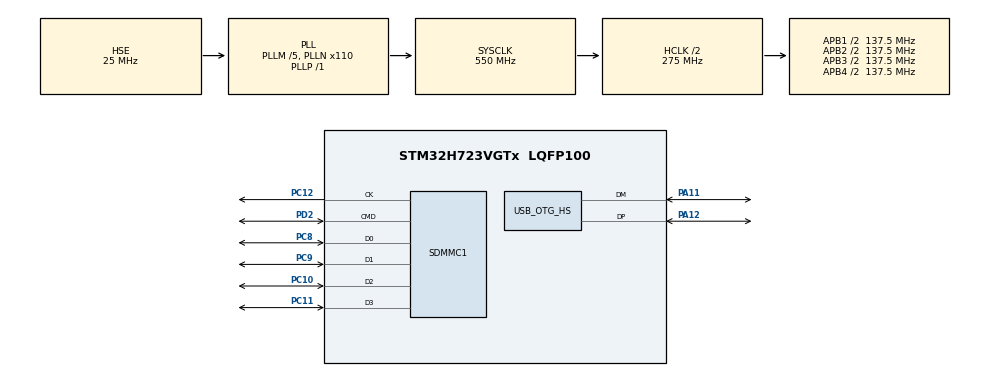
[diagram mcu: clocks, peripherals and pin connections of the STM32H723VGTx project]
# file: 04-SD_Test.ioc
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Mcu.Family=STM32H7
Mcu.Name=STM32H723VGTx
Mcu.Package=LQFP100
NVIC.OTG_HS_IRQn=true\:0\:0\:false\:false\:true\:false\:true\:true
NVIC.PriorityGroup=NVIC_PRIORITYGROUP_4
NVIC.SDMMC1_IRQn=true\:0\:0\:false\:false\:true\:true\:true\:true
PA11.Mode=Device_Only_FS
PA11.Signal=USB_OTG_HS_DM
PA12.Mode=Device_Only_FS
PA12.Signal=USB_OTG_HS_DP
PC10.Mode=SD_4_bits_Wide_bus
PC10.Signal=SDMMC1_D2
PC11.Mode=SD_4_bits_Wide_bus
PC11.Signal=SDMMC1_D3
PC12.Mode=SD_4_bits_Wide_bus
PC12.Signal=SDMMC1_CK
PC14-OSC32_IN.Mode=LSE-External-Oscillator
PC14-OSC32_IN.Signal=RCC_OSC32_IN
PC15-OSC32_OUT.Mode=LSE-External-Oscillator
PC15-OSC32_OUT.Signal=RCC_OSC32_OUT
PC8.Mode=SD_4_bits_Wide_bus
PC8.Signal=SDMMC1_D0
PC9.Mode=SD_4_bits_Wide_bus
PC9.Signal=SDMMC1_D1
PD2.Mode=SD_4_bits_Wide_bus
PD2.Signal=SDMMC1_CMD
PH0-OSC_IN.Mode=HSE-External-Oscillator
PH0-OSC_IN.Signal=RCC_OSC_IN
PH1-OSC_OUT.Mode=HSE-External-Oscillator
PH1-OSC_OUT.Signal=RCC_OSC_OUT
ProjectManager.HeapSize=0x200
ProjectManager.StackSize=0x400
ProjectManager.TargetToolchain=MDK-ARM V5.32
RCC.ADCFreq_Value=50390625
RCC.APB1Freq_Value=137500000
RCC.APB2Freq_Value=137500000
RCC.APB3Freq_Value=137500000
RCC.APB4Freq_Value=137500000
RCC.CortexFreq_Value=550000000
RCC.D1PPRE=RCC_APB3_DIV2
RCC.D2PPRE1=RCC_APB1_DIV2
RCC.D2PPRE2=RCC_APB2_DIV2
RCC.D3PPRE=RCC_APB4_DIV2
RCC.DIVM1=5
RCC.DIVN1=110
RCC.DIVP1=1
RCC.DIVQ1=4
RCC.HCLKFreq_Value=275000000
RCC.HPRE=RCC_HCLK_DIV2
RCC.PLL2FRACN=0
RCC.PLL3FRACN=0
RCC.PLLFRACN=0
RCC.PLLSourceVirtual=RCC_PLLSOURCE_HSE
RCC.SYSCLKFreq_VALUE=550000000
RCC.SYSCLKSource=RCC_SYSCLKSOURCE_PLLCLK
RCC.USBCLockSelection=RCC_USBCLKSOURCE_HSI48
RCC.USBFreq_Value=48000000
SDMMC1.ClockDiv=5
USB_DEVICE.CLASS_NAME_HS=MSC
USB_DEVICE.MSC_MEDIA_PACKET=4096
USB_DEVICE.VirtualMode=Msc
USB_DEVICE.VirtualModeHS=Msc_HS
USB_OTG_HS.VirtualMode-Device_Only_FS=Device_Only_FS
VP_USB_DEVICE_VS_USB_DEVICE_MSC_HS.Mode=MSC_HS
board=custom

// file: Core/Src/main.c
/* USER CODE BEGIN Header */

/*---------------------------------------
- WeAct Studio Official Link
- taobao: weactstudio.taobao.com
- aliexpress: weactstudio.aliexpress.com
- github: github.com/WeActStudio
- gitee: gitee.com/WeActStudio
- blog: blog.weactstudio.com
---------------------------------------*/

/**
  ******************************************************************************
  * @file           : main.c
  * @brief          : Main program body
  ******************************************************************************
  * @attention
  *
  * Copyright (c) 2023 STMicroelectronics.
  * All rights reserved.
  *
  * This software is licensed under terms that can be found in the LICENSE file
  * in the root directory of this software component.
  * If no LICENSE file comes with this software, it is provided AS-IS.
  *
  ******************************************************************************
  */
/* USER CODE END Header */
#include "main.h"
#include "sdmmc.h"
#include "gpio.h"

/* USER CODE BEGIN Includes */
#include "board.h"
#include "usb_device.h"
/* USER CODE END Includes */

/* USER CODE BEGIN PV */
HAL_SD_CardCIDTypedef pCID;
HAL_SD_CardCSDTypedef pCSD;
HAL_SD_CardInfoTypeDef pCardInfo;
/* USER CODE END PV */

void SystemClock_Config(void);
static void MPU_Config(void);

int main(void)
{

  /* MPU Configuration--------------------------------------------------------*/
  MPU_Config();

  /* MCU Configuration--------------------------------------------------------*/

  /* Reset of all peripherals, Initializes the Flash interface and the Systick. */
  HAL_Init();

  /* Configure the system clock */
  SystemClock_Config();

  /* USER CODE BEGIN SysInit */
  board_button_init();
  board_led_init();
  /* USER CODE END SysInit */

  /* Initialize all configured peripherals */
  MX_GPIO_Init();
  MX_SDMMC1_SD_Init();
  /* USER CODE BEGIN 2 */

	HAL_SD_GetCardCID(&hsd1, &pCID);
  HAL_SD_GetCardCSD(&hsd1, &pCSD);
	HAL_SD_GetCardInfo(&hsd1, &pCardInfo);

	HAL_Delay(50);
	MX_USB_DEVICE_Init();

	uint32_t tick,tick_now;
  tick = HAL_GetTick() + 200;
  tick_now = HAL_GetTick();
  /* USER CODE END 2 */

  /* Infinite loop */
  while (1)
  {

    /* USER CODE BEGIN 3 */
		tick_now = HAL_GetTick();
    if(board_button_getstate())
    {
      if(tick_now >= tick)
      {
        tick = tick_now + 200;
        board_led_toggle();
      }
    }
    else
    {
      if(tick_now >= tick)
      {
        tick = tick_now + 500;
        board_led_toggle();
      }
    }
  }
  /* USER CODE END 3 */
}

void SystemClock_Config(void)
{
  RCC_OscInitTypeDef RCC_OscInitStruct = {0};
  RCC_ClkInitTypeDef RCC_ClkInitStruct = {0};

  /** Supply configuration update enable
  */
  HAL_PWREx_ConfigSupply(PWR_LDO_SUPPLY);

  /** Configure the main internal regulator output voltage
  */
  __HAL_PWR_VOLTAGESCALING_CONFIG(PWR_REGULATOR_VOLTAGE_SCALE0);

  while(!__HAL_PWR_GET_FLAG(PWR_FLAG_VOSRDY)) {}

  /** Initializes the RCC Oscillators according to the specified parameters
  * in the RCC_OscInitTypeDef structure.
  */
  RCC_OscInitStruct.OscillatorType = RCC_OSCILLATORTYPE_HSI48|RCC_OSCILLATORTYPE_HSE;
  RCC_OscInitStruct.HSEState = RCC_HSE_ON;
  RCC_OscInitStruct.HSI48State = RCC_HSI48_ON;
  RCC_OscInitStruct.PLL.PLLState = RCC_PLL_ON;
  RCC_OscInitStruct.PLL.PLLSource = RCC_PLLSOURCE_HSE;
  RCC_OscInitStruct.PLL.PLLM = 5;
  RCC_OscInitStruct.PLL.PLLN = 110;
  RCC_OscInitStruct.PLL.PLLP = 1;
  RCC_OscInitStruct.PLL.PLLQ = 4;
  RCC_OscInitStruct.PLL.PLLR = 2;
  RCC_OscInitStruct.PLL.PLLRGE = RCC_PLL1VCIRANGE_2;
  RCC_OscInitStruct.PLL.PLLVCOSEL = RCC_PLL1VCOWIDE;
  RCC_OscInitStruct.PLL.PLLFRACN = 0;
  if (HAL_RCC_OscConfig(&RCC_OscInitStruct) != HAL_OK)
  {
    Error_Handler();
  }

  /** Initializes the CPU, AHB and APB buses clocks
  */
  RCC_ClkInitStruct.ClockType = RCC_CLOCKTYPE_HCLK|RCC_CLOCKTYPE_SYSCLK
                              |RCC_CLOCKTYPE_PCLK1|RCC_CLOCKTYPE_PCLK2
                              |RCC_CLOCKTYPE_D3PCLK1|RCC_CLOCKTYPE_D1PCLK1;
  RCC_ClkInitStruct.SYSCLKSource = RCC_SYSCLKSOURCE_PLLCLK;
  RCC_ClkInitStruct.SYSCLKDivider = RCC_SYSCLK_DIV1;
  RCC_ClkInitStruct.AHBCLKDivider = RCC_HCLK_DIV2;
  RCC_ClkInitStruct.APB3CLKDivider = RCC_APB3_DIV2;
  RCC_ClkInitStruct.APB1CLKDivider = RCC_APB1_DIV2;
  RCC_ClkInitStruct.APB2CLKDivider = RCC_APB2_DIV2;
  RCC_ClkInitStruct.APB4CLKDivider = RCC_APB4_DIV2;

  if (HAL_RCC_ClockConfig(&RCC_ClkInitStruct, FLASH_LATENCY_3) != HAL_OK)
  {
    Error_Handler();
  }
}

/* MPU Configuration */

void MPU_Config(void)
{
  MPU_Region_InitTypeDef MPU_InitStruct = {0};

  /* Disables the MPU */
  HAL_MPU_Disable();

  /** Initializes and configures the Region and the memory to be protected
  */
  MPU_InitStruct.Enable = MPU_REGION_ENABLE;
  MPU_InitStruct.Number = MPU_REGION_NUMBER0;
  MPU_InitStruct.BaseAddress = 0x0;
  MPU_InitStruct.Size = MPU_REGION_SIZE_4GB;
  MPU_InitStruct.SubRegionDisable = 0x87;
  MPU_InitStruct.TypeExtField = MPU_TEX_LEVEL0;
  MPU_InitStruct.AccessPermission = MPU_REGION_NO_ACCESS;
  MPU_InitStruct.DisableExec = MPU_INSTRUCTION_ACCESS_DISABLE;
  MPU_InitStruct.IsShareable = MPU_ACCESS_SHAREABLE;
  MPU_InitStruct.IsCacheable = MPU_ACCESS_NOT_CACHEABLE;
  MPU_InitStruct.IsBufferable = MPU_ACCESS_NOT_BUFFERABLE;

  HAL_MPU_ConfigRegion(&MPU_InitStruct);
  /* Enables the MPU */
  HAL_MPU_Enable(MPU_PRIVILEGED_DEFAULT);

}

void Error_Handler(void)
{
  /* USER CODE BEGIN Error_Handler_Debug */
  /* User can add his own implementation to report the HAL error return state */
  __disable_irq();
  while (1)
  {
		board_led_set(1);
  }
  /* USER CODE END Error_Handler_Debug */
}
